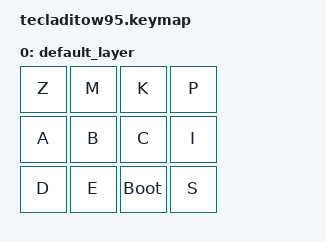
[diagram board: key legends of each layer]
#include <behaviors.dtsi>
#include <dt-bindings/zmk/keys.h>

/ {
    keymap {
        compatible = "zmk,keymap";

        default_layer {
            bindings = <
                &kp Z   &kp M   &kp K           &kp P
                &kp A   &kp B   &kp C           &kp I
                &kp D   &kp E   &bootloader     &kp S
            >;
        };
    };
};
